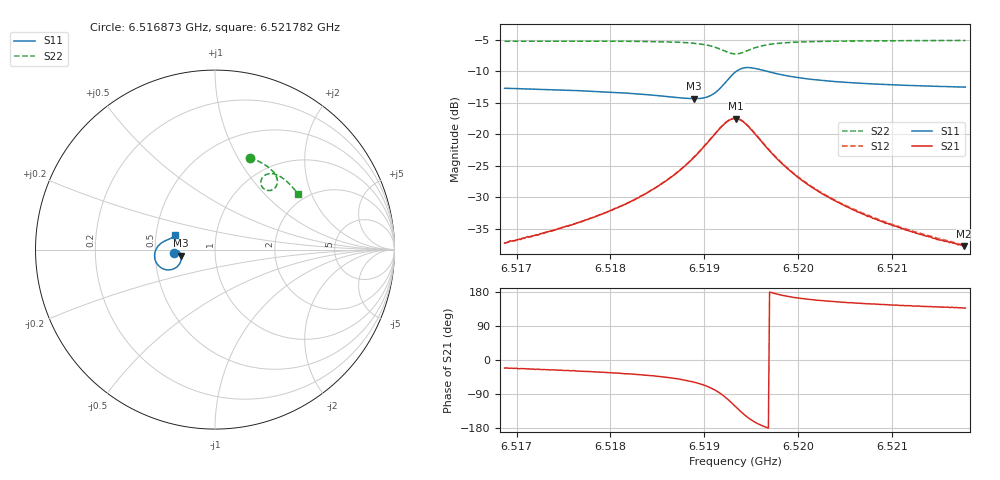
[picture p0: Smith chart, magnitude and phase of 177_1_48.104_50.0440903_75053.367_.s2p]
#  HZ  S  RI  R  50.00
! Rohde & Schwarz Vector Network Analyzer
! Rohde-Schwarz,ZNB20-2Port,1311601062101988,3.16
! Created: UTC 12/23/2023, 3:52:22 AM
! freq[Hz]  re:S11  im:S11  re:S21  im:S21  re:S12  im:S12  re:S22  im:S22
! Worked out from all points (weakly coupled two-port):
!   401 points, 6.516873 GHz to 6.521782 GHz, reference 50 ohm
!   highest |S21| = -17.51 dB at 6.51934 GHz (marker M1); lowest = -37.8 dB at 6.52177 GHz (marker M2)
!   lowest |S11| = -14.4 dB at 6.518886 GHz (marker M3), VSWR 1.47, Z = 34.1 - j2.35 ohm
!   |S11| at or under -10 dB: start of sweep to 6.519342 GHz; 6.519668 GHz to end of sweep
!   |S22| runs from -7.2 to -5.1 dB; largest |S21 - S12| = 0.0044
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6.5168732e9  -0.2311 -0.0194  0.0127 -0.00498  0.0129 -0.00454  0.1943 0.5125
6.517315e9  -0.2265 -0.0128  0.0151 -0.00722  0.0152 -0.00662  0.2269 0.4992
6.5176954e9  -0.2211 -0.00825  0.0177 -0.0101  0.0179 -0.00938  0.2551 0.4856
6.5181495e9  -0.2126 -0.00577  0.0223 -0.0164  0.023 -0.0155  0.2892 0.465
6.5185176e9  -0.2021 -0.00961  0.0284 -0.0269  0.0293 -0.0262  0.3177 0.4415
6.5187017e9  -0.1954 -0.0171  0.0321 -0.037  0.0333 -0.0362  0.3317 0.4251
6.5188858e9  -0.1885 -0.0333  0.0343 -0.0552  0.0362 -0.0544  0.3443 0.4017
6.5190085e9  -0.188 -0.0536  0.0314 -0.0751  0.0338 -0.0747  0.3478 0.3787
6.5190944e9  -0.1947 -0.0745  0.0221 -0.094  0.0251 -0.0941  0.3437 0.3587
6.5192294e9  -0.2357 -0.1093  -0.0199 -0.1219  -0.0164 -0.1234  0.3123 0.3309
6.5193275e9  -0.2917 -0.1061  -0.0699 -0.1133  -0.0671 -0.1163  0.2741 0.3374
6.5193398e9  -0.2984 -0.1027  -0.0755 -0.1097  -0.0729 -0.1126  0.2702 0.3405
6.5194502e9  -0.3349 -0.0516  -0.1022 -0.0613  -0.1013 -0.0649  0.2557 0.3804
6.5195484e9  -0.3326 -0.00902  -0.0959 -0.0253  -0.0958 -0.0283  0.2696 0.4075
6.5196589e9  -0.3168 0.0197  -0.0792 -0.00332  -0.0798 -0.00571  0.2923 0.4208
6.5199043e9  -0.2857 0.0449  -0.0507 0.0114  -0.0515 0.00999  0.3322 0.4205
6.5201497e9  -0.2673 0.0537  -0.0353 0.0134  -0.0361 0.0126  0.3595 0.4093
6.5205669e9  -0.2492 0.0616  -0.0223 0.0123  -0.0229 0.0119  0.3927 0.3856
6.5209719e9  -0.2384 0.0675  -0.0159 0.011  -0.0163 0.0107  0.4185 0.362
6.5214628e9  -0.2287 0.0744  -0.0115 0.00945  -0.0119 0.00933  0.4448 0.3323
6.5217695e9  -0.2236 0.0786  -0.00943 0.00882  -0.01 0.00864  0.4595 0.3133
6.5217818e9  -0.2235 0.0788  -0.00951 0.00879  -0.00989 0.00864  0.46 0.3123
